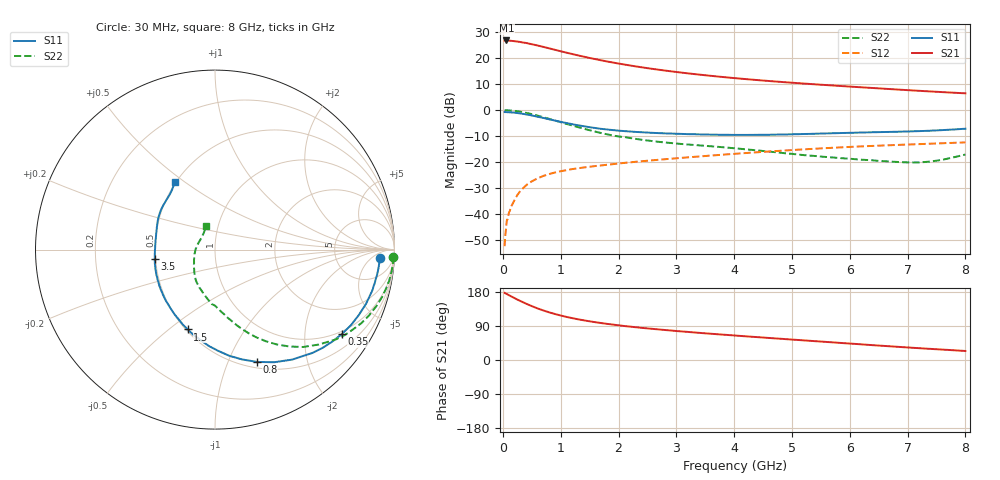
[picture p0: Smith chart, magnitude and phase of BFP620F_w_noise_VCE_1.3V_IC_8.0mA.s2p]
! Infineon Technologies  Discrete & RF Semiconductors
! BFP620F
! VCE =  1.3 V,  IC =  8.0 mA
! Common Emitter S-Parameters:  Dec 2014
# GHz  S  MA  R  50
!  f  S11  S21  S12  S22
! GHz  MAG  ANG  MAG  ANG  MAG  ANG  MAG  ANG
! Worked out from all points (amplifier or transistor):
!   95 points, 30 MHz to 8 GHz, reference 50 ohm
!   highest |S21| = 26.9 dB at 60 MHz (marker M1)
!   |S21| within 3 dB of that: start of sweep to 793.8 MHz
!   unconditionally stable (mu >= 1): 4.393 GHz to end of sweep
!   at 300 MHz: K = 0.13, MSG = 28.7 dB, |S12| = -31.2 dB
!   at 3.3 GHz: K = 0.93, MSG = 16.0 dB, |S12| = -18.0 dB
!   at 8 GHz: K = 1.10, MAG = 7.6 dB, |S12| = -12.4 dB
!   lowest NFmin = 0.56 dB at 450 MHz
!   S11 on the Smith chart (normalised r, x): 30 MHz: 17, -11; 350 MHz: 0.91, -3.06; 800 MHz: 0.57, -1.28; 1.5 GHz: 0.51, -0.58; 3.5 GHz: 0.49, -0.06; 8 GHz: 0.49, +0.46
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0.03  0.9187 -3.0  21.97 177.2  0.0024 85.0  0.995 -2.3
0.06  0.9171 -6.0  22.02 174.9  0.0061 94.7  0.9937 -4.6
0.13  0.9067 -13.0  21.78 169.0  0.0127 83.2  0.9856 -10.2
0.25  0.8803 -24.5  20.98 159.5  0.0232 77.4  0.9522 -19.4
0.35  0.849 -33.7  20.07 152.3  0.0314 72.8  0.9124 -26.7
0.4  0.8298 -38.3  19.72 148.7  0.0355 70.9  0.8879 -30.1
0.45  0.8114 -42.5  19.15 145.4  0.0393 68.6  0.8654 -33.4
0.6  0.7483 -55.0  17.61 136.1  0.0486 63.2  0.7843 -42.4
0.7  0.7083 -62.4  16.55 130.7  0.0541 60.2  0.7314 -47.9
0.8  0.6675 -69.6  15.53 125.8  0.0588 57.7  0.6804 -52.5
0.9  0.6305 -76.1  14.56 121.4  0.063 55.5  0.631 -56.9
1.1  0.5645 -88.2  12.81 113.7  0.0699 52.1  0.5435 -64.5
1.4  0.4905 -104.1  10.72 104.7  0.0787 49.2  0.44 -73.8
1.5  0.4699 -108.8  10.14 102.1  0.0812 48.4  0.4106 -76.6
1.8  0.4254 -122.0  8.688 95.4  0.0888 46.9  0.3431 -85.0
2.1  0.3954 -133.7  7.575 89.7  0.0965 45.6  0.3038 -93.5
2.7  0.3612 -152.2  6.006 80.6  0.111 43.9  0.2454 -106.7
3.5  0.3401 -171.1  4.708 70.4  0.1309 41.7  0.2054 -120.4
4.1  0.3338 177.0  4.059 63.6  0.1468 39.6  0.1808 -128.8
5.4  0.3519 156.2  3.147 49.7  0.1807 33.5  0.131 -153.3
6.7  0.3815 137.9  2.548 36.1  0.2113 26.0  0.1023 167.1
8  0.4394 120.7  2.111 23.8  0.2393 18.4  0.1399 110.1
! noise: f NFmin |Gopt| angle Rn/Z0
0.45  0.56  0.34  9  0.24
0.9  0.63  0.3  19  0.21
1.5  0.69  0.28  22  0.17
1.8  0.72  0.26  25  0.16
1.9  0.73  0.21  39  0.18
2.4  0.78  0.19  54  0.16
3.5  0.89  0.18  74  0.13
5.5  1.07  0.13  168  0.11
6  1.11  0.1  192  0.19
